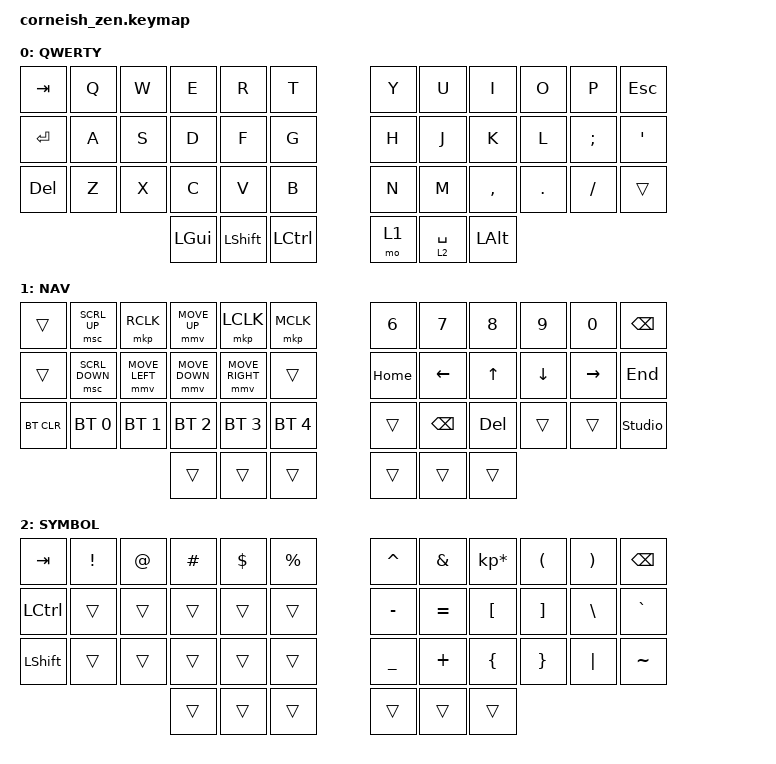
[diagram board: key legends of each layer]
// configure mouse

#define ZMK_POINTING_DEFAULT_MOVE_VAL 300  // default: 600

//#define ZMK_POINTING_DEFAULT_SCRL_VAL 1    // default: 10

#include <behaviors.dtsi>
#include <dt-bindings/zmk/bt.h>
#include <dt-bindings/zmk/keys.h>
#include <dt-bindings/zmk/pointing.h>

/ {
    chosen {
        zmk,physical-layout = &foostan_corne_6col_layout;

        // zmk,physical-layout = &foostan_corne_5col_layout;
    };
};

/ {
    keymap {
        compatible = "zmk,keymap";

        default_layer {
            label = "QWERTY";

            // -----------------------------------------------------------------------------------------
            // |  TAB |  Q  |  W  |  E  |  R  |  T  |   |  Y  |  U   |  I  |  O  |  P  | ESC  |
            // |  ENT |  A  |  S  |  D  |  F  |  G  |   |  H  |  J   |  K  |  L  |  ;  |  '   |
            // |  DEL |  Z  |  X  |  C  |  V  |  B  |   |  N  |  M   |  ,  |  .  |  /  |      |
            //                    | GUI | SHFT| CTRL|   |  L1 |SPC/L2| ALT |

            bindings = <
&kp TAB  &kp Q  &kp W  &kp E     &kp R       &kp T        &kp Y  &kp U        &kp I      &kp O    &kp P     &kp ESC
&kp RET  &kp A  &kp S  &kp D     &kp F       &kp G        &kp H  &kp J        &kp K      &kp L    &kp SEMI  &kp SQT
&kp DEL  &kp Z  &kp X  &kp C     &kp V       &kp B        &kp N  &kp M        &kp COMMA  &kp DOT  &kp FSLH  &trans
                       &kp LGUI  &kp LSHIFT  &kp LCTRL    &mo 1  &lt 2 SPACE  &kp LALT
            >;
        };

        lower_layer {
            label = "NAV";

            // -----------------------------------------------------------------------------------------
            // |      | SCRU| RCLK| MUP | LCLK| MCLK|   |  6  |  7  |  8  |  9  |  0  | BKSP |
            // | BTCLR| SCRD| MLFT| MDN | MRGT| BT5 |   | HOME| LFT |  UP | DWN | RGT | END  |
            // | BTCLR| BT0 | BT1 | BT2 | BT3 | BT4 |   |     | BKSP| DEL |     |     | UNLK |
            //                    |     |     |     |   |     |     |     |

            bindings = <
&trans      &msc SCRL_UP    &mkp RCLK       &mmv MOVE_UP    &mkp LCLK        &mkp MCLK       &kp N6    &kp N7    &kp N8   &kp N9    &kp N0     &kp BSPC
&trans      &msc SCRL_DOWN  &mmv MOVE_LEFT  &mmv MOVE_DOWN  &mmv MOVE_RIGHT  &trans          &kp HOME  &kp LEFT  &kp UP   &kp DOWN  &kp RIGHT  &kp END
&bt BT_CLR  &bt BT_SEL 0    &bt BT_SEL 1    &bt BT_SEL 2    &bt BT_SEL 3     &bt BT_SEL 4    &trans    &kp BSPC  &kp DEL  &trans    &trans     &studio_unlock
                                            &trans          &trans           &trans          &trans    &trans    &trans
            >;
        };

        raise_layer {
            label = "SYMBOL";

            // -----------------------------------------------------------------------------------------
            // |  TAB |  !  |  @  |  #  |  $  |  %  |   |  ^  |  &  |  *  |  (  |  )  | BKSP |
            // | CTRL |     |     |     |     |     |   |  -  |  =  |  [  |  ]  |  \  |  `   |
            // | SHFT |     |     |     |     |     |   |  _  |  +  |  {  |  }  | "|" |  ~   |
            //                    |     |     |     |   |     |     |     |

            bindings = <
&kp TAB    &kp EXCL  &kp AT  &kp HASH  &kp DLLR  &kp PRCNT    &kp CARET  &kp AMPS   &kp KP_MULTIPLY  &kp LPAR  &kp RPAR  &kp BSPC
&kp LCTRL  &trans    &trans  &trans    &trans    &trans       &kp MINUS  &kp EQUAL  &kp LBKT         &kp RBKT  &kp BSLH  &kp GRAVE
&kp LSHFT  &trans    &trans  &trans    &trans    &trans       &kp UNDER  &kp PLUS   &kp LBRC         &kp RBRC  &kp PIPE  &kp TILDE
                             &trans    &trans    &trans       &trans     &trans     &trans
            >;
        };
    };
};
